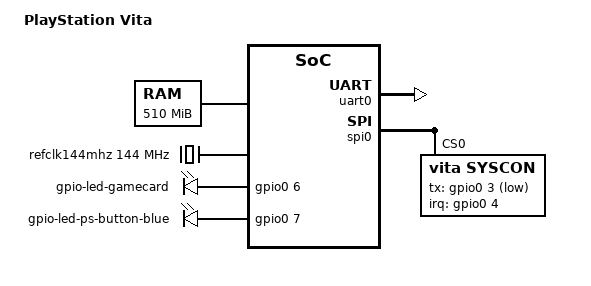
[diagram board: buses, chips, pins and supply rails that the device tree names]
// SPDX-License-Identifier: GPL-2.0
/*
 * Base Device Tree Source for the PlayStation Vita
 */

/dts-v1/;

/ {
	model = "PlayStation Vita";
	compatible = "vita,vita";

	#address-cells = <1>;
	#size-cells = <1>;

	chosen {
		#address-cells = <1>;
		#size-cells = <1>;
		ranges;
	};

	aliases {
		serial0 = &uart0;
	};

	cpus {
		#address-cells = <1>;
		#size-cells = <0>;
		enable-method = "vita,smp";

		cpu@0 {
			device_type = "cpu";
			compatible = "arm,cortex-a9";
			reg = <0>;
		};

		cpu@1 {
			device_type = "cpu";
			compatible = "arm,cortex-a9";
			reg = <1>;
		};

		cpu@2 {
			device_type = "cpu";
			compatible = "arm,cortex-a9";
			reg = <2>;
		};

		cpu@3 {
			device_type = "cpu";
			compatible = "arm,cortex-a9";
			reg = <3>;
		};
	};

	memory {
		device_type = "memory";
		reg = <0x40200000 0x1FE00000>;
	};

	l2: cache-controller@1A002000 {
		compatible = "arm,pl310-cache";
		reg = <0x1A002000 0x1000>;
		cache-unified;
		cache-level = <2>;
	};

	gic: interrupt-controller@1a001000 {
		compatible = "arm,cortex-a9-gic";
		#interrupt-cells = <3>;
		#address-cells = <0>;
		interrupt-controller;
		reg = <0x1a001000 0x1000>,
		      <0x1a000100 0x1000>;
	};

	refclk144mhz: refclk144mkhz {
		compatible = "fixed-clock";
		#clock-cells = <0>;
		clock-frequency = <144000000>;
		clock-output-names = "refclk144khz";
	};

	soc {
		#address-cells = <1>;
		#size-cells = <1>;
		compatible = "simple-bus";
		interrupt-parent = <&gic>;
		ranges;

		uart0: serial@e2030000 {
			compatible = "vita,vita-uart";
			reg = <0xe2030000 0x10000>;
		};

		/*global_timer@1a000200 {
			compatible = "arm,cortex-a9-global-timer";
			reg = <0x1a000200 0x100>;
			interrupts = <GIC_PPI 11 (GIC_CPU_MASK_RAW(0xF) | IRQ_TYPE_EDGE_RISING)>;
			clocks = <&refclk144mhz>;
		};*/

		local_timer@1a000600 {
			compatible = "arm,cortex-a9-twd-timer";
			reg = <0x1a000600 0x100>;
			interrupts = <GIC_PPI 13 (GIC_CPU_MASK_RAW(0xF) | IRQ_TYPE_EDGE_RISING)>;
			clocks = <&refclk144mhz>;
		};

		gpio0: gpio@e20a0000 {
			compatible = "vita,gpio";
			#address-cells = <1>;
			#size-cells = <1>;
			reg = <0xe20a0000 0x1000>;

			interrupt-parent = <&gic>;
			interrupts = <GIC_SPI 216 IRQ_TYPE_LEVEL_HIGH
				      GIC_SPI 217 IRQ_TYPE_LEVEL_HIGH
				      GIC_SPI 218 IRQ_TYPE_LEVEL_HIGH
				      GIC_SPI 219 IRQ_TYPE_LEVEL_HIGH
				      GIC_SPI 220 IRQ_TYPE_LEVEL_HIGH>;

			gpio-controller;
			#gpio-cells = <2>;
			ngpios = <32>;

			interrupt-controller;
			#interrupt-cells = <2>;

			resets = <&reset 64>;
			reset-names = "gpio0_reset";
		};

		spi0: spi@1c05000 {
			compatible = "vita,spi";
			reg = <0xe0a00000 0x1000>;
			#address-cells = <1>;
			#size-cells = <0>;

			resets = <&reset 65>;
			reset-names = "spi0_reset";

			syscon: syscon@0 {
				compatible = "vita,syscon";
				reg = <0>;
				#address-cells = <0>;
				#size-cells = <0>;

				interrupt-parent = <&gpio0>;
				interrupts = <4 IRQ_TYPE_EDGE_FALLING>;

				tx-gpios = <&gpio0 3 GPIO_ACTIVE_LOW>;

				syscon-ts {
					compatible = "vita,syscon-ts";
				};

				syscon-buttons {
					compatible = "vita,syscon-buttons";
				};

				syscon-rtc {
					compatible = "vita,syscon-rtc";
				};
			};

		};

		reset: reset@e3101000 {
			compatible = "vita,reset";
			#reset-cells = <1>;
			reg = <0xe3101000 0x1000>;
		};
	};

	leds {
		compatible = "gpio-leds";

		led-gamecard {
			label = "gpio-led-gamecard";
			gpios = <&gpio0 6 GPIO_ACTIVE_HIGH>;
			linux,default-trigger = "disk-activity";
		};

		led-ps-button-blue {
			label = "gpio-led-ps-button-blue";
			gpios = <&gpio0 7 GPIO_ACTIVE_HIGH>;
			default-state = "on";
		};
	};
};
